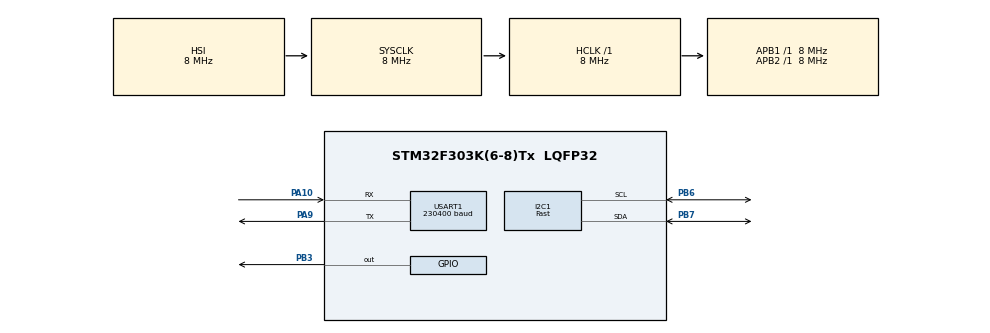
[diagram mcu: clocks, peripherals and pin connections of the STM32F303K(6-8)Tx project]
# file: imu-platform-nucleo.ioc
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I2C1.I2C_Speed_Mode=I2C_Fast
I2C1.Timing=0x0000020B
Mcu.Family=STM32F3
Mcu.Name=STM32F303K(6-8)Tx
Mcu.Package=LQFP32
NVIC.PriorityGroup=NVIC_PRIORITYGROUP_4
PA10.Mode=Asynchronous
PA10.Signal=USART1_RX
PA13.Signal=SYS_JTMS-SWDIO
PA14.Signal=SYS_JTCK-SWCLK
PA9.GPIO_Speed=GPIO_SPEED_FREQ_HIGH
PA9.Mode=Asynchronous
PA9.Signal=USART1_TX
PB3.Signal=GPIO_Output
PB6.Mode=I2C
PB6.Signal=I2C1_SCL
PB7.Mode=I2C
PB7.Signal=I2C1_SDA
PF0\ /\ OSC_IN.Mode=HSE-External-Clock-Source
PF0\ /\ OSC_IN.Signal=RCC_OSC_IN
ProjectManager.HeapSize=0x200
ProjectManager.StackSize=0x400
ProjectManager.TargetToolchain=STM32CubeIDE
RCC.AHBFreq_Value=8000000
RCC.APB1Freq_Value=8000000
RCC.APB1TimFreq_Value=8000000
RCC.APB2Freq_Value=8000000
RCC.APB2TimFreq_Value=8000000
RCC.CortexFreq_Value=8000000
RCC.HCLKFreq_Value=8000000
RCC.HSE_VALUE=8000000
RCC.HSI_VALUE=8000000
RCC.PLLMUL=RCC_PLL_MUL4
RCC.SYSCLKFreq_VALUE=8000000
USART1.BaudRate=230400
USART1.VirtualMode-Asynchronous=VM_ASYNC
board=NUCLEO-F303K8

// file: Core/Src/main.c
/* USER CODE BEGIN Header */
/**
  ******************************************************************************
  * @file           : main.c
  * @brief          : Main program body
  ******************************************************************************
  * @attention
  *
  * <h2><center>&copy; Copyright (c) 2020 STMicroelectronics.
  * All rights reserved.</center></h2>
  *
  * This software component is licensed by ST under BSD 3-Clause license,
  * the "License"; You may not use this file except in compliance with the
  * License. You may obtain a copy of the License at:
  *                        opensource.org/licenses/BSD-3-Clause
  *
  ******************************************************************************
  */
/* USER CODE END Header */

#include "main.h"

/* USER CODE BEGIN Includes */
#include <stdio.h>
#include <stdlib.h>
#include <string.h>

#include "state.h"
#include "sensors.h"
#include "telemetry.h"
#include "MPU9255.h"
#include "lsm/lsm6ds3_tools.h"
#include "lsm/lsm303c_tools.h"
/* USER CODE END Includes */

I2C_HandleTypeDef hi2c1;

UART_HandleTypeDef huart1;

/* USER CODE BEGIN PV */
stateIMU_rsc_t 		stateIMU_rsc;
stateIMU_isc_t 		stateIMU_isc;
state_system_t 		state_system;
state_zero_t		state_zero;

stateIMU_isc_t		stateIMU_isc_prev;
state_system_t		state_system_prev;

/* USER CODE END PV */

void SystemClock_Config(void);
static void MX_GPIO_Init(void);
static void MX_I2C1_Init(void);
static void MX_USART1_UART_Init(void);
/* USER CODE BEGIN PFP */
extern void initialise_monitor_handles(void);
/* USER CODE END PFP */

int main(void)
{

  /* MCU Configuration--------------------------------------------------------*/

  /* Reset of all peripherals, Initializes the Flash interface and the Systick. */
  HAL_Init();

  /* Configure the system clock */
  SystemClock_Config();

  /* Initialize all configured peripherals */
  MX_GPIO_Init();
  MX_I2C1_Init();
  MX_USART1_UART_Init();
  /* USER CODE BEGIN 2 */
#if DEBUG
  initialise_monitor_handles();
#endif
  //	Global structures init
	memset(&stateIMU_rsc, 			0x00, sizeof(stateIMU_rsc));
	memset(&stateIMU_isc, 			0x00, sizeof(stateIMU_isc));
	memset(&state_system, 			0x00, sizeof(state_system));
	memset(&state_zero, 			0x00, sizeof(state_zero));

	memset(&stateIMU_isc_prev, 		0x00, sizeof(stateIMU_isc_prev));
	memset(&state_system_prev, 		0x00, sizeof(state_system_prev));

	state_system.MPU_state = 111;
	state_system.NRF_state = 111;

	if (IMU_CALIBRATION)
		printf("IMU calibration enabled\n");

	IMU_Init();
  /* USER CODE END 2 */

  /* Infinite loop */
  /* USER CODE BEGIN WHILE */
  while (1)
  {
	  IMU_updateDataAll();
	  _IMUtask_updateData();

	  msg_state_send(&huart1);

	  HAL_GPIO_TogglePin(GPIOB, GPIO_PIN_3);

    /* USER CODE END WHILE */

  }
}

void SystemClock_Config(void)
{
  RCC_OscInitTypeDef RCC_OscInitStruct = {0};
  RCC_ClkInitTypeDef RCC_ClkInitStruct = {0};
  RCC_PeriphCLKInitTypeDef PeriphClkInit = {0};

  /** Initializes the CPU, AHB and APB busses clocks
  */
  RCC_OscInitStruct.OscillatorType = RCC_OSCILLATORTYPE_HSI;
  RCC_OscInitStruct.HSIState = RCC_HSI_ON;
  RCC_OscInitStruct.HSICalibrationValue = RCC_HSICALIBRATION_DEFAULT;
  RCC_OscInitStruct.PLL.PLLState = RCC_PLL_NONE;
  if (HAL_RCC_OscConfig(&RCC_OscInitStruct) != HAL_OK)
  {
    Error_Handler();
  }
  /** Initializes the CPU, AHB and APB busses clocks
  */
  RCC_ClkInitStruct.ClockType = RCC_CLOCKTYPE_HCLK|RCC_CLOCKTYPE_SYSCLK
                              |RCC_CLOCKTYPE_PCLK1|RCC_CLOCKTYPE_PCLK2;
  RCC_ClkInitStruct.SYSCLKSource = RCC_SYSCLKSOURCE_HSI;
  RCC_ClkInitStruct.AHBCLKDivider = RCC_SYSCLK_DIV1;
  RCC_ClkInitStruct.APB1CLKDivider = RCC_HCLK_DIV1;
  RCC_ClkInitStruct.APB2CLKDivider = RCC_HCLK_DIV1;

  if (HAL_RCC_ClockConfig(&RCC_ClkInitStruct, FLASH_LATENCY_0) != HAL_OK)
  {
    Error_Handler();
  }
  PeriphClkInit.PeriphClockSelection = RCC_PERIPHCLK_USART1|RCC_PERIPHCLK_I2C1;
  PeriphClkInit.Usart1ClockSelection = RCC_USART1CLKSOURCE_PCLK1;
  PeriphClkInit.I2c1ClockSelection = RCC_I2C1CLKSOURCE_HSI;
  if (HAL_RCCEx_PeriphCLKConfig(&PeriphClkInit) != HAL_OK)
  {
    Error_Handler();
  }
}

static void MX_I2C1_Init(void)
{

  hi2c1.Instance = I2C1;
  hi2c1.Init.Timing = 0x0000020B;
  hi2c1.Init.OwnAddress1 = 0;
  hi2c1.Init.AddressingMode = I2C_ADDRESSINGMODE_7BIT;
  hi2c1.Init.DualAddressMode = I2C_DUALADDRESS_DISABLE;
  hi2c1.Init.OwnAddress2 = 0;
  hi2c1.Init.OwnAddress2Masks = I2C_OA2_NOMASK;
  hi2c1.Init.GeneralCallMode = I2C_GENERALCALL_DISABLE;
  hi2c1.Init.NoStretchMode = I2C_NOSTRETCH_DISABLE;
  if (HAL_I2C_Init(&hi2c1) != HAL_OK)
  {
    Error_Handler();
  }
  /** Configure Analogue filter
  */
  if (HAL_I2CEx_ConfigAnalogFilter(&hi2c1, I2C_ANALOGFILTER_ENABLE) != HAL_OK)
  {
    Error_Handler();
  }
  /** Configure Digital filter
  */
  if (HAL_I2CEx_ConfigDigitalFilter(&hi2c1, 0) != HAL_OK)
  {
    Error_Handler();
  }
  /* USER CODE BEGIN I2C1_Init 2 */
  i2c_lsm6ds3 = &hi2c1;
  i2c_lsm303c = &hi2c1;
  /* USER CODE END I2C1_Init 2 */

}

static void MX_USART1_UART_Init(void)
{

  huart1.Instance = USART1;
  huart1.Init.BaudRate = 230400;
  huart1.Init.WordLength = UART_WORDLENGTH_8B;
  huart1.Init.StopBits = UART_STOPBITS_1;
  huart1.Init.Parity = UART_PARITY_NONE;
  huart1.Init.Mode = UART_MODE_TX_RX;
  huart1.Init.HwFlowCtl = UART_HWCONTROL_NONE;
  huart1.Init.OverSampling = UART_OVERSAMPLING_16;
  huart1.Init.OneBitSampling = UART_ONE_BIT_SAMPLE_DISABLE;
  huart1.AdvancedInit.AdvFeatureInit = UART_ADVFEATURE_NO_INIT;
  if (HAL_UART_Init(&huart1) != HAL_OK)
  {
    Error_Handler();
  }

}

static void MX_GPIO_Init(void)
{
  GPIO_InitTypeDef GPIO_InitStruct = {0};

  /* GPIO Ports Clock Enable */
  __HAL_RCC_GPIOF_CLK_ENABLE();
  __HAL_RCC_GPIOA_CLK_ENABLE();
  __HAL_RCC_GPIOB_CLK_ENABLE();

  /*Configure GPIO pin Output Level */
  HAL_GPIO_WritePin(GPIOB, GPIO_PIN_3, GPIO_PIN_RESET);

  /*Configure GPIO pin : PB3 */
  GPIO_InitStruct.Pin = GPIO_PIN_3;
  GPIO_InitStruct.Mode = GPIO_MODE_OUTPUT_PP;
  GPIO_InitStruct.Pull = GPIO_NOPULL;
  GPIO_InitStruct.Speed = GPIO_SPEED_FREQ_LOW;
  HAL_GPIO_Init(GPIOB, &GPIO_InitStruct);

}

void Error_Handler(void)
{
}

/************************ (C) COPYRIGHT STMicroelectronics *****END OF FILE****/
